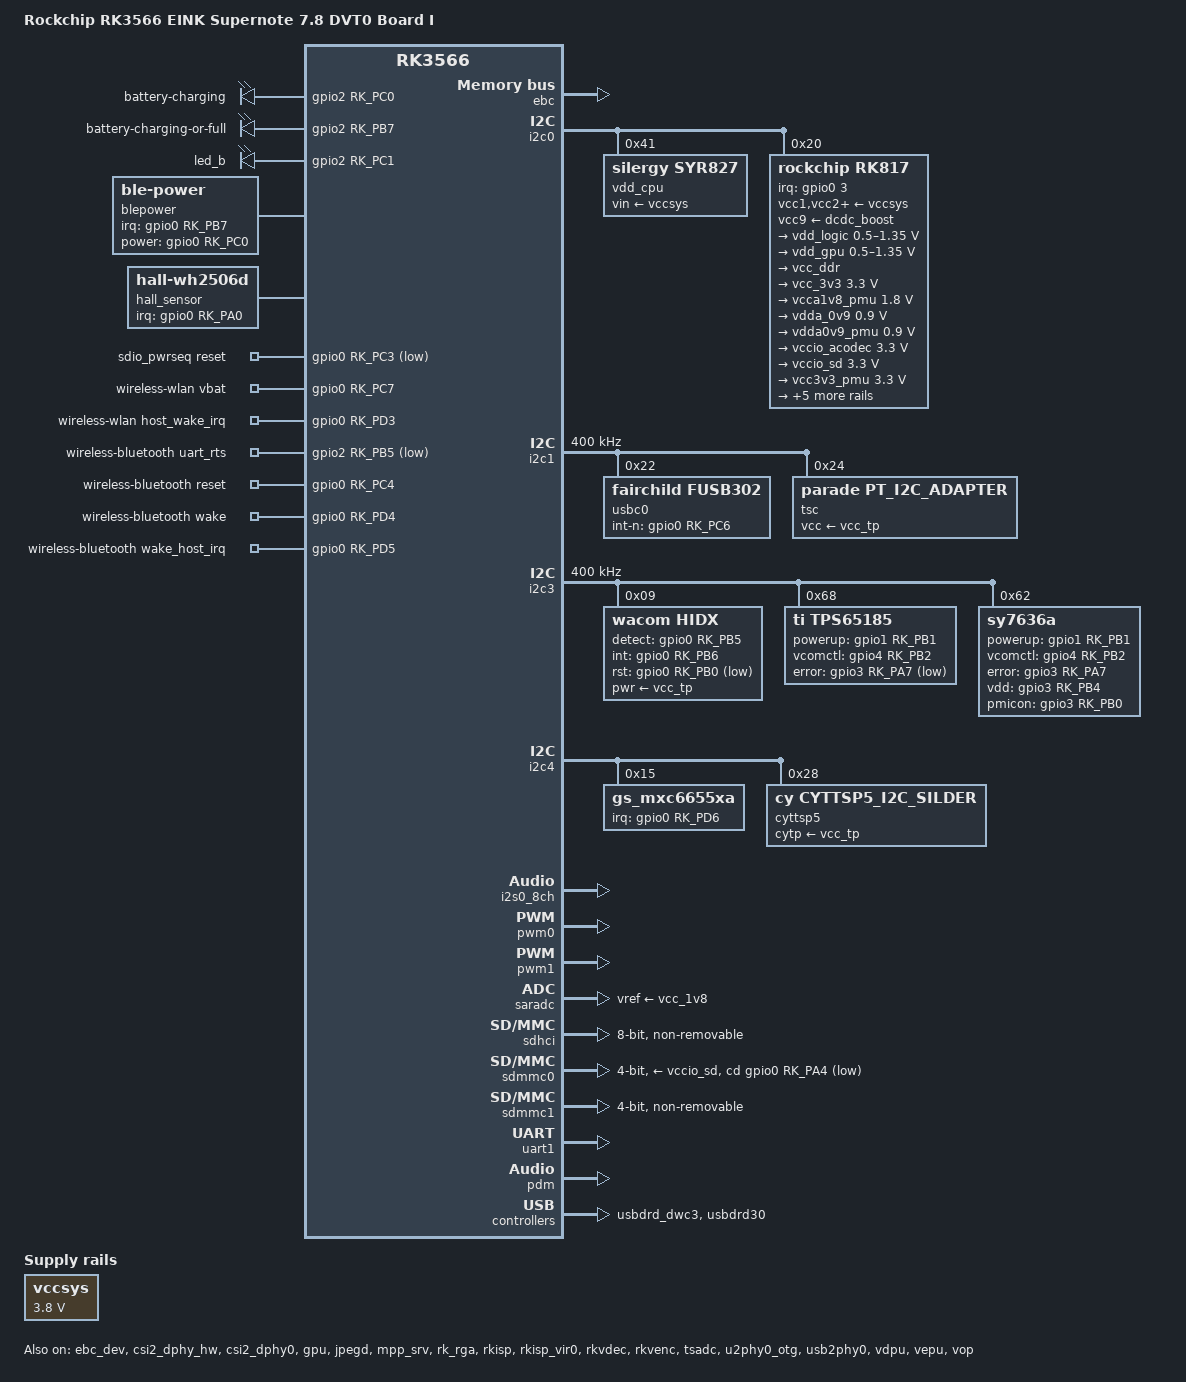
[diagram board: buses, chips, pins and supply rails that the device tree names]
// SPDX-License-Identifier: (GPL-2.0+ OR MIT)
/*
 * Copyright (c) 2020 Rockchip Electronics Co., Ltd.
 *
 */

/dts-v1/;

#include <dt-bindings/gpio/gpio.h>
#include <dt-bindings/pinctrl/rockchip.h>
#include <dt-bindings/input/rk-input.h>
#include <dt-bindings/sensor-dev.h>
#include <dt-bindings/display/drm_mipi_dsi.h>
#include <dt-bindings/usb/pd.h>
#include "rk3566.dtsi"
#include "rk3568-android.dtsi"
#include "rk3566-eink.dtsi"

#define TYPEC_fusb30x

/ {
    model = "Rockchip RK3566 EINK Supernote 7.8 DVT0 Board I";
    compatible = "rockchip,rk3566-rk817-eink", "rockchip,rk3566";

    ramoops_mem: ramoops_mem {
        reg = <0x0 0x110000 0x0 0xf0000>;
        reg-names = "ramoops_mem";
    };

    ramoops {
        compatible = "ramoops";
        record-size = <0x0 0x20000>;
        console-size = <0x0 0x80000>;
        ftrace-size = <0x0 0x00000>;
        pmsg-size = <0x0 0x50000>;
        memory-region = <&ramoops_mem>;
    };

    charge_animation: charge-animation {
        status = "okay";
        compatible = "rockchip,uboot-charge";
        rockchip,uboot-charge-on = <0>;
        rockchip,android-charge-on = <0>;
        rockchip,uboot-low-power-voltage = <3350>;
        rockchip,screen-on-voltage = <3400>;
        rockchip,auto-wakeup-interval = <10>;
    };

    adc_keys: adc-keys {
        status = "disabled";
        compatible = "adc-keys";
        io-channels = <&saradc 0>;
        io-channel-names = "buttons";
        keyup-threshold-microvolt = <1800000>;
        poll-interval = <100>;

        vol-up-key {
            label = "volume up";
            linux,code = <KEY_VOLUMEUP>;
            press-threshold-microvolt = <9000>;
        };

        vol-down-key {
            label = "volume down";
            linux,code = <KEY_VOLUMEDOWN>;
            press-threshold-microvolt = <235000>;
        };
    };

    gpio_keys: gpio-keys {
        status ="disabled";
        compatible = "gpio-keys";
        autorepeat;
#if 0
        BACK {
            label = "GPIO Key Back";
            debounce-interval = <10>;
            interrupt-parent = <&gpio0>;
            interrupts = <18 IRQ_TYPE_LEVEL_HIGH>;//gpio0_c2
            linux,input-type = <EV_KEY>;
            linux,code = <KEY_BACK>;
        };
        #endif
    };

    leds: gpio-leds {
        status = "okay";
        compatible = "gpio-leds";
        led@1 {
            gpios = <&gpio2 RK_PC0 GPIO_ACTIVE_HIGH>;
            linux,default-trigger = "battery-charging";
            //label = "led_r";
			label = "battery-charging";
            retain-state-suspended;
        };

        led@2 {
            gpios = <&gpio2 RK_PB7 GPIO_ACTIVE_HIGH>;
            linux,default-trigger = "battery-charging-or-full";
            //label = "led_g";
			label = "battery-charging-or-full";
            retain-state-suspended;
        };

        led@3 {
            gpios = <&gpio2 RK_PC1 GPIO_ACTIVE_HIGH>;
            linux,default-trigger = "led-blue";
            label = "led_b";
            retain-state-suspended;
        };
    };

    blepower: ble-power {
        status = "okay";
        compatible = "ble-power";
        //pinctrl-names = "default";
        //pinctrl-0 = <&ble_det_gpio>;
        irq-gpio = <&gpio0 RK_PB7 IRQ_TYPE_EDGE_BOTH>;
        power-gpio = <&gpio0 RK_PC0 GPIO_ACTIVE_HIGH>;
    };

    hall_sensor: hall-wh2506d {
        status = "okay";
        compatible = "hall-wh2506d";
        pinctrl-names = "default";
        pinctrl-0 = <&hall_irq_gpio>;
        irq-gpio = <&gpio0 RK_PA0 IRQ_TYPE_EDGE_BOTH>;
        hall-active = <1>;
    };

    vccsys: vccsys {
        compatible = "regulator-fixed";
        regulator-name = "vcc3v8_sys";
        regulator-always-on;
        regulator-boot-on;
        regulator-min-microvolt = <3800000>;
        regulator-max-microvolt = <3800000>;
    };

    rk817_sound: rk817-sound {
        status = "okay";
        compatible = "simple-audio-card";
        simple-audio-card,format = "i2s";
        simple-audio-card,name = "rockchip,rk817-codec";
        simple-audio-card,mclk-fs = <256>;

        simple-audio-card,cpu {
            sound-dai = <&i2s0_8ch>;
        };
        simple-audio-card,codec {
            sound-dai = <&rk817_codec>;
        };
    };

    pdmics: dummy-codec {
        status = "okay";
        compatible = "rockchip,dummy-codec";
        #sound-dai-cells = <0>;
    };

    pdm_mic_array: pdm-mic-array {
        status = "okay";
        compatible = "simple-audio-card";
        simple-audio-card,name = "rockchip,pdm-mic-array";
        simple-audio-card,cpu {
            sound-dai = <&pdm>;
        };
        simple-audio-card,codec {
            sound-dai = <&pdmics>;
        };
    };

    sdio_pwrseq: sdio-pwrseq {
        compatible = "mmc-pwrseq-simple";
        clocks = <&rk817 1>;
        clock-names = "ext_clock";
        pinctrl-names = "default";
        pinctrl-0 = <&wifi_enable_h>;

        /*
         * On the module itself this is one of these (depending
         * on the actual card populated):
         * - SDIO_RESET_L_WL_REG_ON
         * - PDN (power down when low)
         */
        post-power-on-delay-ms = <200>;
        reset-gpios = <&gpio0 RK_PC3 GPIO_ACTIVE_LOW>;
    };

    wireless-wlan {
        status = "okay";
        compatible = "wlan-platdata";
        rockchip,grf = <&grf>;
        wifi_chip_type = "";
        pinctrl-names = "default";
        pinctrl-0 = <&wifi_gpio>;
        WIFI,vbat_gpio = <&gpio0 RK_PC7 GPIO_ACTIVE_HIGH>;
        WIFI,host_wake_irq = <&gpio0 RK_PD3 GPIO_ACTIVE_HIGH>;
    };

    wireless-bluetooth {
        status = "okay";
        compatible = "bluetooth-platdata";
        clocks = <&rk817 1>;
        clock-names = "ext_clock";
        //wifi-bt-power-toggle;
        uart_rts_gpios = <&gpio2 RK_PB5 GPIO_ACTIVE_LOW>;
        pinctrl-names = "default", "rts_gpio";
        pinctrl-0 = <&uart1m0_rtsn>, <&bt_reset_gpio>, <&bt_wake_gpio>, <&bt_irq_gpio>;
        pinctrl-1 = <&uart1_gpios>;
        BT,reset_gpio = <&gpio0 RK_PC4 GPIO_ACTIVE_HIGH>;
        BT,wake_gpio = <&gpio0 RK_PD4 GPIO_ACTIVE_HIGH>;
        BT,wake_host_irq = <&gpio0 RK_PD5 GPIO_ACTIVE_HIGH>;
    };

#if 0
    backlight_warm: backlight-warm {
        status = "okay";
        compatible = "pwm-backlight";
        pwms = <&pwm1 0 25000 0>;
        brightness-levels = <
            0   18  100 100 101 101 101 102 102 103 103
            104 105 105 106 108 110 112 116 120 124
            129 134 139 144 149 154 158 162 166 173
            180 187 194 202 210 238 266 294 305 316
            327 346 366 385 403 421 440 463 487 510
            537 564 591 618 645 672 705 738 771 822
            873 924 962 1000 1038 1113 1188 1263 1370 1477
            1584 1639 1695 1750 1839 1927 2016 2120 2224 2328
            2545 2761 2978 3129 3281 3432 3539 3646 3754 3922
            4091 4260 4568 4876 5184 5603 6023 6442 6865 7287
            7710 8130 8550 8970 9513 10057 10600
         >;
         default-brightness-level = <0>;
    };

    backlight_cold: backlight-cold {
        status = "okay";
        compatible = "pwm-backlight";
        pwms = <&pwm0 0 25000 0>;
        brightness-levels = <
            0   18  100 100 101 101 101 102 102 103 103
            104 105 106 107 108 109 110 115 120 125
            132 140 147 157 167 177 189 201 213 232
            251 270 286 302 318 332 346 360 377 395
            412 432 451 471 493 515 537 562 587 612
            643 674 705 737 769 801 850 899 948 984
            1020 1056 1116 1176 1236 1304 1372 1440 1510 1580
            1650 1707 1764 1821 1920 2019 2118 2200 2282 2364
            2540 2716 2892 3019 3147 3274 3413 3551 3690 3834
            3978 4122 4386 4650 4914 5266 5618 5970 6463 6956
            7449 7900 8351 8802 9401 10001 10600
         >;
       default-brightness-level = <0>;
     };
#endif
};

&ebc {
    /* clock rate 1000M/n, (n=1~32) */
    assigned-clocks = <&cru CPLL_333M>, <&cru DCLK_EBC>;
    assigned-clock-rates = <34000000>, <34000000>;
    status = "okay";
};

&ebc_dev {
    pmic = <&sy7636a>;
    //backlight = <&backlight>;
    /* ES103TC1 */
    panel,width = <1872>;
    panel,height = <1404>;
    panel,vir_width = <1872>;
    panel,vir_height = <1404>;
    panel,sdck = <34000000>;
    panel,lsl = <18>;
    panel,lbl = <17>;
    panel,ldl = <234>;

    // 15:CKV = 117.7K, EMR NOISE 达到最佳效果。20220712:确认15是最佳效果。

    panel,lel = <15>;  // 470ns
    panel,gdck-sta = <34>;
    panel,lgonl = <192>;
    panel,fsl = <1>;
    panel,fbl = <4>;
    panel,fdl = <1404>;
    panel,fel = <2>;
    panel,mirror = <0>;
    panel,panel_16bit = <1>;
    panel,panel_color = <0>;
    panel,width-mm = <210>;
    panel,height-mm = <157>;
    panel,dpi = <220>;
    panel,vcom-mv = <1670>;
    status = "okay";
};

// 20220523,hsl fix: 6*fb_size + 2*lcd_size + 512K 
// 10.3: 6*2628288 + 2*657088 + 512*1024= 17608192 = 0X10CAE00
&display_reserved {
    reg = <0x0 0x10900000 0x0 0x15d0000>;
};

&cpu0 {
    cpu-supply = <&vdd_cpu>;
};

&csi2_dphy_hw {
    status = "okay";
};

&csi2_dphy0 {
    status = "okay";

    ports {
        #address-cells = <1>;
        #size-cells = <0>;
        port@0 {
            reg = <0>;
            #address-cells = <1>;
            #size-cells = <0>;

            mipi_in_ucam0: endpoint@0 {
                reg = <0>;
                //remote-endpoint = <&gc5035_out>;
                data-lanes = <1 2>;
            };
        };
        port@1 {
            reg = <1>;
            #address-cells = <1>;
            #size-cells = <0>;

            csidphy0_out: endpoint@0 {
                reg = <0>;
                remote-endpoint = <&isp0_in>;
            };
        };
    };
};

&gpu {
    mali-supply = <&vdd_gpu>;
    status = "okay";
};

&hdmi {
    status = "disabled";
};

&hdmi_in_vp0 {
    status = "disabled";
};

&hdmi_in_vp1 {
    status = "disabled";
};

&i2c0 {
    status = "okay";

    vdd_cpu: syr827@41 {
        status = "okay";
        compatible = "silergy,syr827";
        reg = <0x41>;
        vin-supply = <&vccsys>;
        regulator-compatible = "fan53555-reg";
        regulator-name = "vdd_cpu";
        regulator-min-microvolt = <712500>;
        regulator-max-microvolt = <1390000>;
        regulator-init-microvolt = <900000>;
        regulator-ramp-delay = <2300>;
        fcs,suspend-voltage-selector = <0>;
        regulator-initial-mode = <0x2>;
        regulator-boot-on;
        regulator-always-on;
        regulator-state-mem {
            regulator-on-in-suspend;
            regulator-suspend-microvolt = <1100000>;
            regulator-changeable-in-suspend;
        };
    };

    rk817: pmic@20 {
        compatible = "rockchip,rk817";
        reg = <0x20>;
        interrupt-parent = <&gpio0>;
        interrupts = <3 IRQ_TYPE_LEVEL_LOW>;

        pinctrl-names = "default";
        //pinctrl-names = "default", "pmic-sleep", "pmic-power-off", "pmic-reset";
        pinctrl-0 = <&pmic_int>;
        //pinctrl-1 = <&soc_slppin_slp>, <&rk817_slppin_slp>;
        //pinctrl-2 = <&soc_slppin_gpio>, <&rk817_slppin_pwrdn>;
        //pinctrl-3 = <&soc_slppin_gpio>, <&rk817_slppin_rst>;
        rockchip,system-power-controller;
        wakeup-source;
        #clock-cells = <1>;
        clock-output-names = "rk808-clkout1", "rk808-clkout2";
        //fb-inner-reg-idxs = <2>;
        /* 1: rst regs (default in codes), 0: rst the pmic */
        pmic-reset-func = <0>;
        /* not save the PMIC_POWER_EN register in uboot */
        not-save-power-en = <1>;
        vcc1-supply = <&vccsys>;
        vcc2-supply = <&vccsys>;
        vcc3-supply = <&vccsys>;
        vcc4-supply = <&vccsys>;
        vcc5-supply = <&vccsys>;
        vcc6-supply = <&vccsys>;
        vcc7-supply = <&vccsys>;
        vcc8-supply = <&vccsys>;
        vcc9-supply = <&dcdc_boost>;

        pwrkey {
            status = "okay";
        };

        pinctrl_rk8xx: pinctrl_rk8xx {
            gpio-controller;
            #gpio-cells = <2>;

            rk817_slppin_null: rk817_slppin_null {
                pins = "gpio_slp";
                function = "pin_fun0";
            };

            rk817_slppin_slp: rk817_slppin_slp {
                pins = "gpio_slp";
                function = "pin_fun1";
            };

            rk817_slppin_pwrdn: rk817_slppin_pwrdn {
                pins = "gpio_slp";
                function = "pin_fun2";
            };

            rk817_slppin_rst: rk817_slppin_rst {
                pins = "gpio_slp";
                function = "pin_fun3";
            };
        };

        regulators {
            vdd_logic: DCDC_REG1 {
                regulator-always-on;
                regulator-boot-on;
                regulator-min-microvolt = <500000>;
                regulator-max-microvolt = <1350000>;
                regulator-init-microvolt = <900000>;
                regulator-ramp-delay = <6001>;
                regulator-initial-mode = <0x2>;
                regulator-name = "vdd_logic";
                regulator-state-mem {
                    regulator-off-in-suspend;
                    regulator-suspend-microvolt = <900000>;
                    regulator-changeable-in-suspend;
                };
            };

            vdd_gpu: DCDC_REG2 {
                regulator-always-on;
                regulator-boot-on;
                regulator-min-microvolt = <500000>;
                regulator-max-microvolt = <1350000>;
                regulator-init-microvolt = <900000>;
                regulator-ramp-delay = <6001>;
                regulator-initial-mode = <0x2>;
                regulator-name = "vdd_gpu";
                    regulator-state-mem {
                    regulator-off-in-suspend;
                    regulator-changeable-in-suspend;
                };
            };

            vcc_ddr: DCDC_REG3 {
                regulator-always-on;
                regulator-boot-on;
                regulator-initial-mode = <0x2>;
                regulator-name = "vcc_ddr";
                regulator-state-mem {
                    regulator-on-in-suspend;
                };
            };

            vcc_3v3: DCDC_REG4 {
                regulator-always-on;
                regulator-boot-on;
                regulator-min-microvolt = <3300000>;
                regulator-max-microvolt = <3300000>;
                regulator-initial-mode = <0x2>;
                regulator-name = "vcc_3v3";
                regulator-state-mem {
                    regulator-off-in-suspend;
                    regulator-changeable-in-suspend;
                };
            };

            vcca1v8_pmu: LDO_REG1 {
                regulator-always-on;
                regulator-boot-on;
                regulator-min-microvolt = <1800000>;
                regulator-max-microvolt = <1800000>;
                regulator-name = "vcca1v8_pmu";
                regulator-state-mem {
                    regulator-off-in-suspend;
                    regulator-suspend-microvolt = <1800000>;
                    regulator-changeable-in-suspend;
                };
            };

            vdda_0v9: LDO_REG2 {
                regulator-always-on;
                regulator-boot-on;
                regulator-min-microvolt = <900000>;
                regulator-max-microvolt = <900000>;
                regulator-name = "vdda_0v9";
                regulator-state-mem {
                    regulator-off-in-suspend;
                    regulator-changeable-in-suspend;
                };
            };

            vdda0v9_pmu: LDO_REG3 {
                regulator-always-on;
                regulator-boot-on;
                regulator-min-microvolt = <900000>;
                regulator-max-microvolt = <900000>;
                regulator-name = "vdda0v9_pmu";
                regulator-state-mem {
                    regulator-off-in-suspend;
                    regulator-suspend-microvolt = <900000>;
                    regulator-changeable-in-suspend;
                };
            };

            vccio_acodec: LDO_REG4 {
                regulator-always-on;
                regulator-boot-on;
                regulator-min-microvolt = <3300000>;
                regulator-max-microvolt = <3300000>;
                regulator-name = "vccio_acodec";
                regulator-state-mem {
                    regulator-off-in-suspend;
                    regulator-changeable-in-suspend;
                };
            };

            vccio_sd: LDO_REG5 {
                regulator-always-on;
                regulator-boot-on;
                regulator-min-microvolt = <3300000>;
                regulator-max-microvolt = <3300000>;
                regulator-name = "vccio_sd";
                regulator-state-mem {
                    regulator-on-in-suspend;
                    regulator-changeable-in-suspend;
                };
            };

            vcc3v3_pmu: LDO_REG6 {
                regulator-always-on;
                regulator-boot-on;
                regulator-min-microvolt = <3300000>;
                regulator-max-microvolt = <3300000>;
                regulator-name = "vcc3v3_pmu";
                regulator-state-mem {
                    regulator-on-in-suspend;
                    regulator-suspend-microvolt = <3000000>;
                    regulator-changeable-in-suspend;
                };
            };

            vcc_1v8: LDO_REG7 {
                regulator-always-on;
                regulator-boot-on;
                regulator-min-microvolt = <1800000>;
                regulator-max-microvolt = <1800000>;
                regulator-name = "vcc_1v8";
                regulator-state-mem {
                    regulator-off-in-suspend;
                    regulator-changeable-in-suspend;
                };
            };

            vcc_tp: LDO_REG8 {
                regulator-always-on;
                regulator-boot-on;
                regulator-min-microvolt = <3000000>;//根据硬件需要改成输出 3.0V.
                regulator-max-microvolt = <3000000>;
                regulator-name = "vcc_tp";
                regulator-state-mem {
                    regulator-on-in-suspend;
                    regulator-changeable-in-suspend;
                    regulator-suspend-microvolt = <3000000>;
                };
            };

            sleep_sta_ctl: LDO_REG9 {
                regulator-name = "sleep_sta_ctl";
                regulator-state-mem {
                    regulator-off-in-suspend;
                    regulator-suspend-microvolt = <3300000>;
                    regulator-changeable-in-suspend;
                };
            };

            dcdc_boost: BOOST {
                regulator-always-on;
                regulator-boot-on;
                regulator-min-microvolt = <4700000>;
                regulator-max-microvolt = <5400000>;
                regulator-name = "boost";
                regulator-state-mem {
                    regulator-on-in-suspend;
                    regulator-changeable-in-suspend;
                };
            };

            otg_switch: OTG_SWITCH {
                regulator-name = "otg_switch";
                regulator-state-mem {
                    //regulator-off-in-suspend;
                    //regulator-changeable-in-suspend;
                };
            };
        };

        battery {
            compatible = "rk817,battery";
            ocv_table = <
                3400 3654 3679 3702 3729 3747 3764
                3781 3797 3817 3839 3867 3911 3962
                4004 4052 4101 4153 4207 4263 4323>;
            tempadc_table = <
                272 261 250 240 230 220 211 203 194
                187 179 172 165 159 152 147 141 135
                130 125 120 116 112 107 103 100 96
                92 89 86 83 80 77 74 71 69 67 64 62
                60 58 56 54 52 50 49 47 45 44 42 41
                40 38 37 36 35 34 33 32 31 30 29 28 27 26 25 >;
            tempnadc_table = <
                284 297 310 324 339 354 370 387 405
                424 444 465 487 510 534 560 587 616
                646 677 711 746 784 823 865 909 956
                1006 1058 1113 1172 1234 1300 1369
                1443 1521 1604 1692 1786 1885>;
            design_capacity = <2700>;
            design_qmax = <2970>;
            bat_res = <150>;
			bat_temp_res = <34>;
            sleep_enter_current = <150>;
            sleep_exit_current = <180>;
            sleep_filter_current = <100>;
            power_off_thresd = <3450>;
            zero_algorithm_vol = <3850>;
            max_soc_offset = <60>;
            monitor_sec = <5>;
            sample_res = <10>;
            virtual_power = <0>;
            low_power_sleep = <1>;
            max_chrg_voltage = <4400>; //for uboot
        };

        charger {
            compatible = "rk817,charger";
            min_input_voltage = <4500>;
            max_input_current = <2000>;
            max_chrg_current = <1500>;
            max_chrg_voltage = <4400>;
            chrg_term_mode = <1>;
            chrg_finish_cur = <120>;
            virtual_power = <0>;
            dc_det_adc = <0>;
            extcon = <&usbc0>;
            gate_function_disable = <1>;
        };

        rk817_codec: codec {
            #sound-dai-cells = <0>;
            compatible = "rockchip,rk817-codec";
            clocks = <&cru I2S1_MCLKOUT>;
            clock-names = "mclk";
            assigned-clocks = <&cru I2S1_MCLKOUT>, <&cru I2S1_MCLK_TX_IOE>;
            assigned-clock-rates = <12288000>;
            assigned-clock-parents = <&cru I2S1_MCLKOUT_TX>, <&cru I2S1_MCLKOUT_TX>;
            pinctrl-names = "default";
            pinctrl-0 = <&i2s1m0_mclk>;
            hp-volume = <20>;
            spk-volume = <3>;
            out-l2spk-r2hp;
            spk-ctl-gpios = <&gpio3 RK_PB1 GPIO_ACTIVE_HIGH>;
            status = "okay";
        };
    };
};

&i2c1 {
    status = "okay";
    clock-frequency = <400000>;
#if 0
    ls_ltr578: light@53 {
        status = "disabled";
        compatible = "ls_ltr578";
        reg = <0x53>;
        type = <SENSOR_TYPE_LIGHT>;
        pinctrl-names = "default";
        pinctrl-0 = <&ltr578_irq_gpio>;
        irq-gpio = <&gpio0 RK_PA5 IRQ_TYPE_LEVEL_LOW>;
        irq_enable = <0>;
        poll_delay_ms = <100>;
        power-off-in-suspend = <1>;
    };

    aw9610x_sar: pressure@12 {
        status = "disabled";
        compatible = "awinic,aw9610x_sar";
        reg = <0x12>;
        pinctrl-names = "default";
        pinctrl-0 = <&aw9610x_irq_gpio>;
        irq-gpio = <&gpio0 RK_PC7 IRQ_TYPE_LEVEL_LOW>;
        aw9610x,using-firmware;
        channel_use_flag = <0x1f>;
        sar-num = <0>;
    };
#endif
#ifdef TYPEC_fusb30x
    usbc0: fusb30x@22 {
        status = "okay";
        compatible = "fairchild,fusb302";
        reg = <0x22>;
        pinctrl-names = "default";
        pinctrl-0 = <&fusb0_int>;
        //pinctrl-0 = <&fusb0_int>, <&fusb0_switch>;
        //power-supply = <&vccio_sd>;
        //vbus-5v-gpios = <&gpio1 4 GPIO_ACTIVE_LOW>;
        int-n-gpios = <&gpio0 RK_PC6 IRQ_TYPE_LEVEL_LOW>;
        //switch-gpios = <&gpio1 RK_PD4 GPIO_ACTIVE_HIGH>;
        usb_con: connector {
            compatible = "usb-c-connector";
            label = "USB-C";
            power-role = "sink";
            try-power-role = "sink";
            source-pdos = <PDO_FIXED(5000, 2000, PDO_FIXED_USB_COMM)>;
            sink-pdos = <PDO_FIXED(5000, 2000, PDO_FIXED_USB_COMM)>;
            op-sink-microwatt = <10000000>;
        };
    };

#else
    usbc0: et7303@4e {
        status = "okay";
        compatible = "etek,et7303";
        reg = <0x4e>;
        interrupt-parent = <&gpio0>;
        interrupts = <22 IRQ_TYPE_LEVEL_LOW>;
        pinctrl-names = "default";
        pinctrl-0 = <&et7303_int>;

        usb_con: connector {
            data-role = "device";
            power-role = "sink";
            try-power-role = "sink";
            sink-pdos = <PDO_FIXED(5000, 2000, PDO_FIXED_USB_COMM)>;
            op-sink-microwatt = <10000000>;
        };
    };
#endif
#if 0
    ls_stk3x1x: light@48 {
        status = "disabled";
        compatible = "ls_stk3x1x";
        reg = <0x48>;
        type = <SENSOR_TYPE_LIGHT>;
        pinctrl-names = "default";
        pinctrl-0 = <&stk3x1x_irq_gpio>;
        irq-gpio = <&gpio0 RK_PA4 IRQ_TYPE_LEVEL_LOW>;
        irq_enable = <0>;
        als_threshold_high = <100>;
        als_threshold_low = <10>;
        als_ctrl_gain = <2>; /* 0:x1 1:x4 2:x16 3:x64 */
        poll_delay_ms = <150>;
        power-off-in-suspend = <1>;
    };
#endif

    touchscreen: goodix-gtx8@5d {
         compatible = "goodix,gt9886";
         reg = <0x5d>;
         status = "disabled";
         pinctrl-names = "default";
         pinctrl-0 = <&tp_gpio>;
         goodix,reset-gpio = <&gpio0 RK_PB5 GPIO_ACTIVE_LOW>;
         goodix,irq-gpio = <&gpio0 RK_PC1 IRQ_TYPE_LEVEL_LOW>;
         goodix,irq-flags = <2>; /* 1:trigger rising, 2:trigger falling;*/
         goodix,panel-max-x = <1404>;
         goodix,panel-max-y = <1872>;
         goodix,panel-max-w = <255>;
         //goodix,swap-axis;
         goodix,x2x;
         tp-support-wakeup;
    };

    tsc@24 {
        compatible = "parade,pt_i2c_adapter";
        reg = <0x24>;
        //status = "disabled";
        status = "okay";
        //interrupt-parent = <&msmgpio>;
        //interrupts = <59 0x2>;
        parade,adapter_id = "pt_i2c_adapter";
        pinctrl-names = "default";
        pinctrl-0 = <&tsc_gpio>;
        vcc-supply = <&vcc_tp>;
        //vddi-supply = <&vddd_touch>;

        parade,core {
            parade,name = "pt_core";
            parade,irq_gpio = <&gpio0 RK_PC1 IRQ_TYPE_LEVEL_LOW>;
            parade,rst_gpio = <&gpio0 RK_PA6 GPIO_ACTIVE_HIGH>; //reset only can set for silde
            //parade,runfw_gpio = <64>;
            parade,hid_desc_register = <1>;
            /*
             * PT_CORE_FLAG_NONE = 0x00
             * PT_CORE_FLAG_POWEROFF_ON_SLEEP = 0x02
             * PT_CORE_FLAG_RESTORE_PARAMETERS = 0x04
             * PT_CORE_FLAG_DEEP_STANDBY = 0x08
             * PT_CORE_FLAG_SKIP_SYS_SLEEP = 0x10
             * PT_CORE_FLAG_SKIP_RUNTIME = 0x20
             * PT_CORE_FLAG_SKIP_RESUME = 0x40
             */
            parade,flags = <6>; //4
            /* PT_CORE_EWG_NONE */
            parade,easy_wakeup_gesture = <0>;
            /* 0:AUTO 1:PIP1_ONLY 2:PIP2_CAPABLE*/
            parade,config_dut_generation = <2>;
            /* 0:False 1:True*/
            parade,watchdog_force_stop = <0>;
            /*
             * PT_PANEL_ID_DISABLE = 0x00
             * PT_PANEL_ID_BY_BL = 0x01
             * PT_PANEL_ID_BY_SYS_INFO = 0x02
             * PT_PANEL_ID_BY_MFG_DATA  = 0x04
             */
            parade,panel_id_support = <0>;
            /* 0:PIP, 1: Hybrid HID, 2: pure HID */
            parade,protocol_mode = <0>;
#if 0
            parade,btn_keys = <172 /* KEY_HOMEPAGE */
                /* previously was KEY_HOME, new Android versions use KEY_HOMEPAGE */
                139 /* KEY_MENU */
                158 /* KEY_BACK */
                217 /* KEY_SEARCH */
                114 /* KEY_VOLUMEDOWN */
                115 /* KEY_VOLUMEUP */
                212 /* KEY_CAMERA */
                116>; /* KEY_POWER */
            parade,btn_keys-tag = <0>;
#endif
            parade,mt {
                parade,name = "pt_mt";

                parade,inp_dev_name = "pt_mt";
                /*
                 * PT_MT_FLAG_NONE = 0x00
                 * PT_MT_FLAG_FLIP = 0x08
                 * PT_MT_FLAG_INV_X = 0x10
                 * PT_MT_FLAG_INV_Y = 0x20
                 * PT_MT_FLAG_VKEYS = 0x40
                 */
                parade,flags = <0x28>;
                parade,abs =
                    /* ABS_MT_POSITION_X, PT_ABS_MIN_X, PT_ABS_MAX_X, 0, 0 */
                    <0x35 0 880 0 0
                    /* ABS_MT_POSITION_Y, PT_ABS_MIN_Y, PT_ABS_MAX_Y, 0, 0 */
                    0x36 0 1280 0 0
                    /* ABS_MT_PRESSURE, PT_ABS_MIN_P, PT_ABS_MAX_P, 0, 0 */
                    0x3a 0 255 0 0
                    /* PT_IGNORE_VALUE, PT_ABS_MIN_W, PT_ABS_MAX_W, 0, 0 */
                    0xffff 0 255 0 0
                    /* ABS_MT_TRACKING_ID, PT_ABS_MIN_T, PT_ABS_MAX_T, 0, 0 */
                    0x39 0 15 0 0
                    /* ABS_MT_TOUCH_MAJOR, 0, 255, 0, 0 */
                    0x30 0 255 0 0
                    /* ABS_MT_TOUCH_MINOR, 0, 255, 0, 0 */
                    0x31 0 255 0 0
                    /* ABS_MT_ORIENTATION, -127, 127, 0, 0 */
                    0x34 0xffffff81 127 0 0
                    /* ABS_MT_TOOL_TYPE, 0, MT_TOOL_MAX, 0, 0 */
                    0x37 0 1 0 0
                    /* ABS_DISTANCE, 0, 255, 0, 0 */
                    0x19 0 255 0 0>;

                parade,vkeys_x = <720>;
                parade,vkeys_y = <1280>;
#if 0
                parade,virtual_keys = /* KeyCode CenterX CenterY Width Height */
                    /* KEY_BACK */
                    <158 90 1360 160 180
                    /* KEY_MENU */
                    139 270 1360 160 180
                    /* KEY_HOMEPAGE */
                    172 450 1360 160 180
                    /* KEY SEARCH */
                    217 630 1360 160 180>;
#endif
            };
        };
    };
#if 0
    iqs360: slide@64 {
         compatible = "iqs360";
         reg = <0x64>;
         status = "okay";
         pinctrl-names = "default";
         pinctrl-0 = <&slide_gpio>;
         //iqs360,reset-gpio = <&gpio0 RK_PB5 GPIO_ACTIVE_LOW>;
         iqs360,irq-gpio = <&gpio0 RK_PC5 IRQ_TYPE_LEVEL_LOW>;
         iqs360,irq-flags = <2>; /* 1:trigger rising, 2:trigger falling;*/
         //iqs360,panel-max-x = <1404>;
         //iqs360,panel-max-y = <1872>;
         //tp-support-wakeup;
    };
#endif
};

&i2c3 {
    status = "okay";
    clock-frequency = <400000>;
    pinctrl-names = "default";
    pinctrl-0 = <&i2c3m1_xfer>;

    wacom: wacom@09 {
        status = "okay";
        compatible = "wacom,hidx";
        reg = <0x09>;
        hid-descr-addr = <0x0001>;
        pwr-supply = <&vcc_tp>;
        pinctrl-names = "default";
        pinctrl-0 = <&emr_gpio>;
        detect-gpios = <&gpio0 RK_PB5 IRQ_TYPE_LEVEL_LOW>;
        int-gpios = <&gpio0 RK_PB6 IRQ_TYPE_LEVEL_LOW>;
        rst-gpios = <&gpio0 RK_PB0 GPIO_ACTIVE_LOW>;
        wacom-support-wakeup;
    };

    huion: huion@08 {
        status = "disabled";
        compatible = "huion,hgtxx";
        reg = <0x08>;
        pinctrl-names = "default";
        pinctrl-0 = <&emr_gpio>;
        interrupt-parent = <&gpio0>;
        touch-gpio = <&gpio0 RK_PB6 GPIO_ACTIVE_LOW>;
        reset-gpio = <&gpio0 RK_PB0 GPIO_ACTIVE_LOW>;
        huion,tp-size = <101>;
        huion,max-x = <1404>;
        huion,max-y = <1872>;
        huion,configfile-num = <1>;
        revert_x = <1>;
        revert_y = <1>;
        xy_exchange = <0>;
        //wacom-support-wakeup;
    };

    hdx8801: hdx8801@11 {
        status = "disabled";
        compatible = "hdx8801_touch";
        reg = <0x11>;
        pinctrl-names = "default";
        pinctrl-0 = <&emr_gpio>;
        gpio_intr = <&gpio0 RK_PB6 GPIO_ACTIVE_LOW>;
        gpio_rst = <&gpio0 RK_PB0 GPIO_ACTIVE_LOW>;
        revert_x = <0>;
        revert_y = <1>;
        xy_exchange = <0>;
        //hdx-support-wakeup;
    };

    tps65185: tps65185@68 {
        status = "okay";
        compatible = "ti,tps65185";
        reg = <0x68>;
        pinctrl-names = "default";
        pinctrl-0 = <&einkpmic_gpio>;
        powerup-gpios = <&gpio1 RK_PB1 GPIO_ACTIVE_HIGH>;
        vcomctl-gpios = <&gpio4 RK_PB2 GPIO_ACTIVE_HIGH>;
        error-gpios = <&gpio3 RK_PA7 GPIO_ACTIVE_LOW>;
    };

    sy7636a: sy7636a@62 {
        status = "okay";
        compatible = "sy7636a";
        reg = <0x62>;
        pinctrl-names = "default";
        pinctrl-0 = <&einkpmic_gpio>;
        powerup-gpios = <&gpio1 RK_PB1 GPIO_ACTIVE_HIGH>;// sy7636a driver failed if powerup pin is not config
        vcomctl-gpios = <&gpio4 RK_PB2 GPIO_ACTIVE_HIGH>;
        error-gpios = <&gpio3 RK_PA7 GPIO_ACTIVE_HIGH>;
        vdd-gpios = <&gpio3 RK_PB4 GPIO_ACTIVE_HIGH>;
        pmicon-gpios  = <&gpio3 RK_PB0 GPIO_ACTIVE_HIGH>;
    };
};

&i2c4 {
    status = "okay";
    pinctrl-names = "default";
    pinctrl-0 = <&i2c4m1_xfer>;

    gs_mxc6655xa: gsensor@15 {
        status = "okay";
        compatible = "gs_mxc6655xa";
        reg = <0x15>;
        pinctrl-names = "default";
        pinctrl-0 = <&mxc6655xa_irq_gpio>;
        irq-gpio = <&gpio0 RK_PD6 IRQ_TYPE_LEVEL_LOW>;
        irq_enable = <0>;
        wakeup-source;  //20220824,hsl add for gsensor wakeup.
        poll_delay_ms = <20>;
        type = <SENSOR_TYPE_ACCEL>;
        power-off-in-suspend = <1>;
        layout = <7>;
    };

    cyttsp5: slide@28 {
        //status = "disabled";
        status = "okay";
        compatible = "cy,cyttsp5_i2c_silder";
        reg = <0x28>;
        cy,adapter_id = "cyttsp5_i2c_silder";
        pinctrl-names = "default";
        pinctrl-0 = <&slide_gpio>;
        cytp-supply = <&vcc_tp>;
        cy,core {
            cy,name = "cyttsp5_core";
            cy,irq_gpio =  <&gpio0 RK_PC5 IRQ_TYPE_LEVEL_LOW>;
            cy,rst_gpio =  <&gpio2 RK_PC6 GPIO_ACTIVE_HIGH>;
            cy,hid_desc_register = <1>;
            /* CY_CORE_FLAG_RESTORE_PARAMETERS */
            cy,flags = <6>;
            /* CY_CORE_EWG_NONE */
            cy,easy_wakeup_gesture = <0>;
#if 0
            cy,btn_keys = <172 /* KEY_HOMEPAGE */
                       /* previously was KEY_HOME, new Android versions use KEY_HOMEPAGE */
                       139 /* KEY_MENU */
                       158 /* KEY_BACK */
                       217 /* KEY_SEARCH */
                       114 /* KEY_VOLUMEDOWN */
                       115 /* KEY_VOLUMEUP */
                       212 /* KEY_CAMERA */
                       116>; /* KEY_POWER */
            cy,btn_keys-tag = <0>;
#endif
            cy,mt {
                cy,name = "cyttsp5_mt";

                cy,inp_dev_name = "cyttsp5_mt";
                /* CY_MT_FLAG_FLIP | CY_MT_FLAG_INV_X | CY_MT_FLAG_INV_Y */
                cy,flags = <0x38>;
                cy,abs =
                    /* ABS_MT_POSITION_X, CY_ABS_MIN_X, CY_ABS_MAX_X, 0, 0 */
                    <0x35 0 880 0 0
                    /* ABS_MT_POSITION_Y, CY_ABS_MIN_Y, CY_ABS_MAX_Y, 0, 0 */
                    0x36 0 1280 0 0
                    /* ABS_MT_PRESSURE, CY_ABS_MIN_P, CY_ABS_MAX_P, 0, 0 */
                    0x3a 0 255 0 0
                    /* CY_IGNORE_VALUE, CY_ABS_MIN_W, CY_ABS_MAX_W, 0, 0 */
                    0xffff 0 255 0 0
                    /* ABS_MT_TRACKING_ID, CY_ABS_MIN_T, CY_ABS_MAX_T, 0, 0 */
                    0x39 0 15 0 0
                    /* ABS_MT_TOUCH_MAJOR, 0, 255, 0, 0 */
                    0x30 0 255 0 0
                    /* ABS_MT_TOUCH_MINOR, 0, 255, 0, 0 */
                    0x31 0 255 0 0
                    /* ABS_MT_ORIENTATION, -127, 127, 0, 0 */
                    0x34 0xffffff81 127 0 0
                    /* ABS_MT_TOOL_TYPE, 0, MT_TOOL_MAX, 0, 0 */
                    0x37 0 1 0 0
                    /* ABS_MT_DISTANCE, 0, 255, 0, 0 */
                    0x3b 0 255 0 0>;

                cy,vkeys_x = <720>;
                cy,vkeys_y = <1280>;
#if 0
                cy,virtual_keys = /* KeyCode CenterX CenterY Width Height */
                    /* KEY_BACK */
                    <158 1360 90 160 180
                    /* KEY_MENU */
                    139 1360 270 160 180
                    /* KEY_HOMEPAGE */
                    172 1360 450 160 180
                    /* KEY SEARCH */
                    217 1360 630 160 180>;
#endif
            };
#if 0

            cy,btn {
                cy,name = "cyttsp5_btn";

                cy,inp_dev_name = "cyttsp5_btn";
            };

            cy,proximity {
                cy,name = "cyttsp5_proximity";

                cy,inp_dev_name = "cyttsp5_proximity";
                cy,abs =
                    /* ABS_DISTANCE, CY_PROXIMITY_MIN_VAL, CY_PROXIMITY_MAX_VAL, 0, 0 */
                    <0x19 0 1 0 0>;
            };
#endif
        };
    };
};

&i2c5 {
    status = "disabled";
    pinctrl-names = "default";
    pinctrl-0 = <&i2c5m1_xfer>;
};

&i2s0_8ch {
    status = "okay";
};

&i2s1_8ch {
    status = "disabled";
    rockchip,clk-trcm = <1>;
    pinctrl-names = "default";
    pinctrl-0 = <&i2s1m0_sclktx &i2s1m0_lrcktx &i2s1m0_sdi0 &i2s1m0_sdo0>;
};

&spi1 {
    status = "disabled";
    max-freq = <48000000>;
    dma-names = "tx", "rx";
    pinctrl-names = "default", "high_speed";
    pinctrl-0 = <&spi1m1_cs0 &spi1m1_pins>;
    pinctrl-1 = <&spi1m1_cs0 &spi1m1_pins_hs>;

    fingerprint: goodix_fp@0 {
        compatible = "goodix,goodix-fp";//goodix,fingerprint";
        //interrupt-parent = <&gpio0>;
        reg = <0x00>;
        spi-max-frequency = <24000000>;
        goodix,gpio_irq = <&gpio0 RK_PC2 IRQ_TYPE_EDGE_RISING>;
        goodix,gpio_reset = <&gpio2 RK_PC1 GPIO_ACTIVE_HIGH>;//hardware will opposite direction
        status = "disabled";
    };
};

&spi3 {
    status = "disabled";
};

&jpegd {
    status = "okay";
};

&jpegd_mmu {
    status = "okay";
};

&video_phy0 {
    status = "disabled";
};

&mpp_srv {
    status = "okay";
};

&nandc0 {
    status = "disabled";
};

&pinctrl {
    pmic {
        pmic_int: pmic_int {
            rockchip,pins =
                <0 RK_PA3 RK_FUNC_GPIO &pcfg_pull_up>;
        };

        soc_slppin_gpio: soc_slppin_gpio {
            rockchip,pins =
                <0 RK_PA2 RK_FUNC_GPIO &pcfg_output_low_pull_down>;
        };

        soc_slppin_slp: soc_slppin_slp {
            rockchip,pins =
                <0 RK_PA2 1 &pcfg_pull_up>;
        };

        soc_slppin_rst: soc_slppin_rst {
            rockchip,pins =
                <0 RK_PA2 2 &pcfg_pull_none>;
        };
    };

    eink_pmic {
        einkpmic_gpio: einkpmic-gpio {
            rockchip,pins =
                <3 RK_PA7 RK_FUNC_GPIO &pcfg_pull_none>,
                <3 RK_PB0 RK_FUNC_GPIO &pcfg_pull_none>,
                <1 RK_PB1 RK_FUNC_GPIO &pcfg_pull_down>,// dummy EBC_PWR_EN
                <3 RK_PB1 RK_FUNC_GPIO &pcfg_pull_down>,// SPK_CTL
                <3 RK_PB4 RK_FUNC_GPIO &pcfg_pull_none>,
                <4 RK_PB2 RK_FUNC_GPIO &pcfg_pull_none>;
        };
    };

    sdio-pwrseq {
        wifi_enable_h: wifi-enable-h {
            rockchip,pins = <0 RK_PC3 RK_FUNC_GPIO &pcfg_pull_none>;// WIFI_REG_ON_H
        };
    };

    wireless-wlan {
        wifi_gpio: wifi-gpio {
            rockchip,pins =
                <0 RK_PD3 RK_FUNC_GPIO &pcfg_pull_up>,// WIFI_WAKE_HOST_H
                <0 RK_PC7 RK_FUNC_GPIO &pcfg_pull_none>;// WIFI_PWR_EN
        };
    };

    wireless-bluetooth {
        uart1_gpios: uart1-gpios {
            rockchip,pins = <2 RK_PB5 RK_FUNC_GPIO &pcfg_pull_none>;
        };

        bt_reset_gpio: bt-reset-gpio {
            rockchip,pins = <0 RK_PC4 RK_FUNC_GPIO &pcfg_pull_none>;
        };

        bt_wake_gpio: bt-wake-gpio {
            rockchip,pins = <0 RK_PD4 RK_FUNC_GPIO &pcfg_pull_none>;
        };

        bt_irq_gpio: bt-irq-gpio {
            rockchip,pins = <0 RK_PD5 RK_FUNC_GPIO &pcfg_pull_up>;// BT_WAKE_HOST_H
        };
    };

    mxc6655xa {
        mxc6655xa_irq_gpio: mxc6655xa-irq-gpio {
            rockchip,pins = <0 RK_PD6 RK_FUNC_GPIO &pcfg_pull_none>;
        };
    };

    sensors {
        hall_irq_gpio: hall-irq-gpio {
            rockchip,pins = <0 RK_PA0 RK_FUNC_GPIO  &pcfg_pull_up>;
        };
        //ltr578_irq_gpio: ltr578-irq-gpio {
       //     rockchip,pins = <0 RK_PA5 RK_FUNC_GPIO  &pcfg_pull_up>;// ALS1_INT_L
       // };
        //stk3x1x_irq_gpio: stk3x1x-irq-gpio {
         //   rockchip,pins = <0 RK_PA6 RK_FUNC_GPIO  &pcfg_pull_up>;// ALS2_INT_L
        //};
        //aw9610x_irq_gpio: aw9610x-irq-gpio {
        //    rockchip,pins = <0 RK_PC5 RK_FUNC_GPIO  &pcfg_pull_up>;
        //};

    };

    //blepower {
    //  ble_det_gpio: ble-det-gpio {
    //      rockchip,pins =
    //          <0 RK_PB7 RK_FUNC_GPIO  &pcfg_pull_none>,
    //          <0 RK_PC0 RK_FUNC_GPIO  &pcfg_pull_none>;
    //    };
    //};

    typec {
        et7303_int: et7303-int {
            rockchip,pins = <0 RK_PC6 RK_FUNC_GPIO &pcfg_pull_none>;
        };
        fusb0_int: fusb0-int {
            rockchip,pins = <0 RK_PC6 RK_FUNC_GPIO &pcfg_pull_none>;
        };
    };

    wacom {
        emr_gpio: emr-gpio {
            rockchip,pins =
                <0 RK_PB5 RK_FUNC_GPIO &pcfg_pull_up>,// EMR_PEN_DETECT
                <0 RK_PB6 RK_FUNC_GPIO &pcfg_pull_up>,
                <0 RK_PB0 RK_FUNC_GPIO &pcfg_pull_up>;
        };
    };

    goodix {
        tp_gpio: tp-gpio {
            rockchip,pins =
                <0 RK_PB5 RK_FUNC_GPIO &pcfg_pull_up>,
                <0 RK_PC1 RK_FUNC_GPIO &pcfg_pull_up>;
        };
    };

   tsc {
        tsc_gpio: tsc-gpio {
            rockchip,pins =
                <0 RK_PA6 RK_FUNC_GPIO &pcfg_pull_up>,// TP_RST_L
                <0 RK_PC1 RK_FUNC_GPIO &pcfg_pull_up>;
        };
    };

    slide {
        slide_gpio: slide-gpio {
            rockchip,pins = 
            <2 RK_PC6 RK_FUNC_GPIO &pcfg_pull_none>,// TP_RST_L
            <0 RK_PC5 RK_FUNC_GPIO &pcfg_pull_up>;
        };
    };
};

&xin32k {
    status = "disabled";
    pinctrl-names = "default";
    pinctrl-0 = <&clk32k_out1>;
};

&pmu_io_domains {
    status = "okay";
    pmuio1-supply = <&vcc3v3_pmu>;
    pmuio2-supply = <&vcc3v3_pmu>;
    vccio1-supply = <&vccio_acodec>;// 3.3v
    vccio3-supply = <&vcc_3v3>;
    vccio4-supply = <&vcca1v8_pmu>;
    vccio5-supply = <&vcc_3v3>;
    vccio6-supply = <&vcc_3v3>;
    vccio7-supply = <&vcc_3v3>;
};

&pwm0 {
    status = "okay";
};

&pwm1 {
    status = "okay";
};

&rk_rga {
    status = "okay";
};

&rkisp {
    status = "okay";
};

&rkisp_mmu {
    status = "okay";
};

&rkisp_vir0 {
    status = "okay";

    port {
        #address-cells = <1>;
        #size-cells = <0>;

        isp0_in: endpoint@0 {
            reg = <0>;
            remote-endpoint = <&csidphy0_out>;
        };
    };
};

&rkvdec {
    status = "okay";
};

&rkvdec_mmu {
    status = "okay";
};

&rkvenc {
    status = "okay";
};

&rkvenc_mmu {
    status = "okay";
};

&rockchip_suspend {
    status = "okay";
    rockchip,sleep-mode-config = <
        (0
         | RKPM_SLP_ARMOFF_LOGOFF
         | RKPM_SLP_CENTER_OFF
         | RKPM_SLP_HW_PLLS_OFF
         | RKPM_SLP_PMUALIVE_32K
         | RKPM_SLP_PMIC_LP
         | RKPM_SLP_32K_PVTM
        )
    >;
    rockchip,regulator-off-in-mem-lite =
        <&vdd_cpu>, <&vdd_gpu>, <&vcc_3v3>, <&vdda_0v9>, <&vcc_1v8>,
        <&vccio_acodec>,
        <&sleep_sta_ctl>;
    rockchip,regulator-on-in-mem-lite =
        <&vcc_ddr>, <&vdd_logic>, <&vdda0v9_pmu>, <&vcca1v8_pmu>, <&vcc_tp>, <&vccio_sd>, <&vcc3v3_pmu>, <&dcdc_boost>;

    rockchip,regulator-off-in-mem =
        <&vdd_cpu>, <&vdd_logic>, <&vdd_gpu>, <&vcc_tp>, <&vcc_3v3>, <&vdda_0v9>, <&vcc_1v8>,
        <&vccio_acodec>, <&vccio_sd>, <&dcdc_boost>, <&otg_switch>,
        <&sleep_sta_ctl>;
    rockchip,regulator-on-in-mem =
        <&vcc_ddr>, <&vdda0v9_pmu>, <&vcca1v8_pmu>, <&vcc3v3_pmu>;

    rockchip,regulator-off-in-mem-ultra =
        <&vdd_logic>, <&vdd_gpu>, <&vcc_ddr>, <&vcc_3v3>, <&vdda_0v9>, <&vcc_1v8>,
        <&vdda0v9_pmu>, <&vcca1v8_pmu>, <&vcc3v3_pmu>, <&vccio_acodec>, <&vccio_sd>,
        <&vcc_tp>, <&dcdc_boost>, <&otg_switch>;
    rockchip,regulator-on-in-mem-ultra = <&vdd_cpu>, <&sleep_sta_ctl>;
};

&saradc {
    status = "okay";
    vref-supply = <&vcc_1v8>;
};

&sdhci {
    bus-width = <8>;
    supports-emmc;
    non-removable;
    keep-power-in-suspend;
    max-frequency = <200000000>;
    status = "okay";
};

&sdmmc0 {
    max-frequency = <50000000>;
    supports-sd;
    bus-width = <4>;
    cap-mmc-highspeed;
    cap-sd-highspeed;
    disable-wp;
    sd-uhs-sdr104;
    card-detect-delay = <300>;//can wait the power is stabled.
    vmmc-supply = <&vccio_sd>;//the sdcard work power.
    vqmmc-supply = <&vccio_sd>;//the sdcard io power.
    power-gpios = <&gpio0 5 GPIO_ACTIVE_HIGH>;
    pinctrl-names = "default";
    pinctrl-0 = <&sdmmc0_bus4 &sdmmc0_clk &sdmmc0_cmd>;
    cd-gpios = <&gpio0 RK_PA4 GPIO_ACTIVE_LOW>;
    //cd-inverted;
    status = "okay";
};

&sdmmc1 {
    max-frequency = <150000000>;
    supports-sdio;
    bus-width = <4>;
    disable-wp;
    cap-sd-highspeed;
    cap-sdio-irq;
    keep-power-in-suspend;
    mmc-pwrseq = <&sdio_pwrseq>;
    non-removable;
    pinctrl-names = "default";
    pinctrl-0 = <&sdmmc1_bus4 &sdmmc1_cmd &sdmmc1_clk>;
    sd-uhs-sdr104;
    rockchip,default-sample-phase = <180>;
    status = "okay";
};

&tsadc {
    status = "okay";
};

&uart1 {
    status = "okay";
    pinctrl-names = "default";
    pinctrl-0 = <&uart1m0_xfer &uart1m0_ctsn>;
};

&pdm {
    status = "okay";
    rockchip,path-map = <1 0 2 3>;
    #sound-dai-cells = <0>;
    pinctrl-names = "default";
    pinctrl-0 = <&pdmm0_clk1 &pdmm0_sdi0 &pdmm0_sdi1>;
};

&u2phy0_otg {
    status = "okay";
};

&usb2phy0 {
    status = "okay";
    extcon = <&usbc0>;
};

&usbdrd_dwc3 {
    status = "okay";
    //dr_mode = "peripheral";
    extcon = <&usbc0>;
};

&usbdrd30 {
    status = "okay";
};

&vdpu {
    status = "okay";
};

&vdpu_mmu {
    status = "okay";
};

&vepu {
    status = "okay";
};

&vepu_mmu {
    status = "okay";
};

&vop {
    status = "okay";
};

&vop_mmu {
    status = "okay";
};
